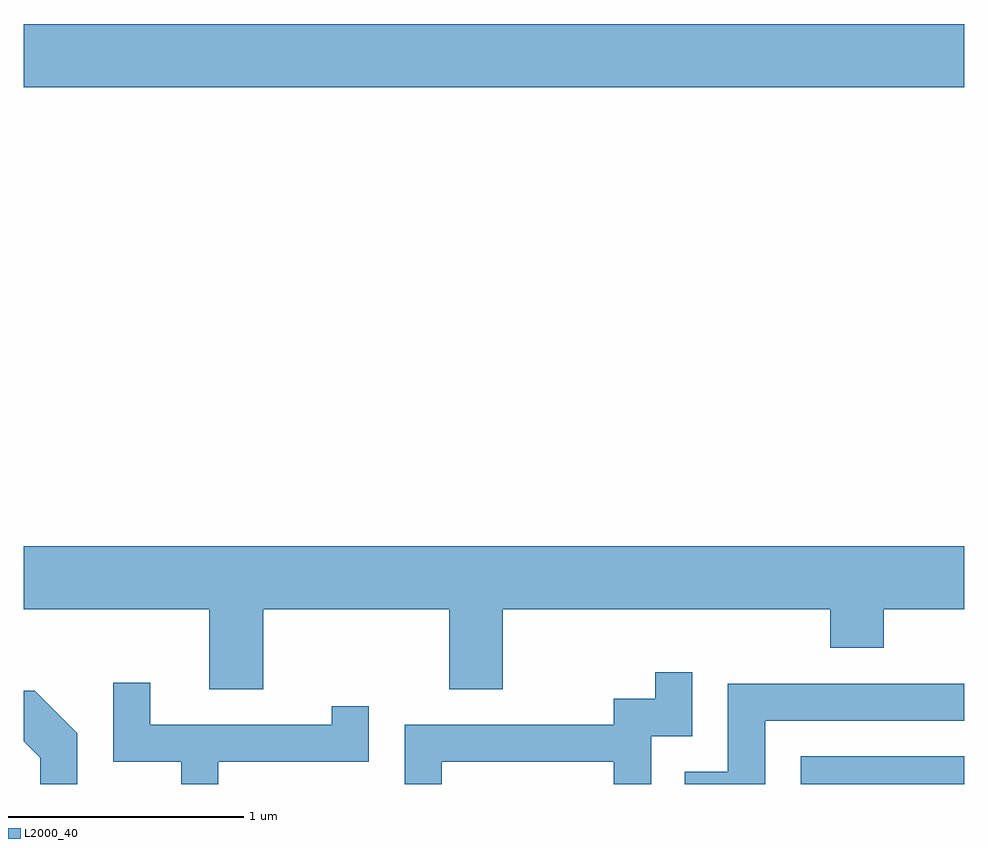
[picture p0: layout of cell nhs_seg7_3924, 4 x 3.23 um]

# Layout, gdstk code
import gdstk
lib = gdstk.Library(unit=1e-6, precision=1e-09)
def R(c, l, rs):  # rectangles x0, y0, x1, y1
    for r in rs: c.add(gdstk.rectangle(r[:2], r[2:], *l))
def P(c, l, *ps):  # polygons
    for p in ps: c.add(gdstk.Polygon(p, *l))
L2000_40 = (2000, 40)

nhs_seg7_3924 = lib.new_cell('nhs_seg7_3924')
R(nhs_seg7_3924, L2000_40, [(308.916,1700.252,309.611,1700.369), (305.611,1703.216,309.611,1703.484)])
P(nhs_seg7_3924, L2000_40, [(306.629,1700.996),(307.421,1700.996),(307.421,1700.656),(307.649,1700.656),(307.649,1700.996),(309.041,1700.996),(309.041,1700.831),(309.269,1700.831),(309.269,1700.996),(309.611,1700.996),(309.611,1701.264),(305.611,1701.264),(305.611,1700.996),(306.401,1700.996),(306.401,1700.656),(306.629,1700.656)],
  [(307.389,1700.346),(308.121,1700.346),(308.121,1700.252),(308.279,1700.252),(308.279,1700.456),(308.454,1700.456),(308.454,1700.728),(308.296,1700.728),(308.296,1700.614),(308.121,1700.614),(308.121,1700.504),(307.231,1700.504),(307.231,1700.252),(307.389,1700.252)],
  [(306.439,1700.346),(307.079,1700.346),(307.079,1700.583),(306.921,1700.583),(306.921,1700.504),(306.149,1700.504),(306.149,1700.683),(305.991,1700.683),(305.991,1700.346),(306.281,1700.346),(306.281,1700.252),(306.439,1700.252)],
  [(308.764,1700.521),(309.611,1700.521),(309.611,1700.679),(308.606,1700.679),(308.606,1700.304),(308.423,1700.304),(308.423,1700.252),(308.764,1700.252)],
  [(305.839,1700.467),(305.657,1700.649),(305.611,1700.649),(305.611,1700.434),(305.681,1700.364),(305.681,1700.252),(305.839,1700.252)])

lib.write_gds('nhs_seg7_3924.gds')
